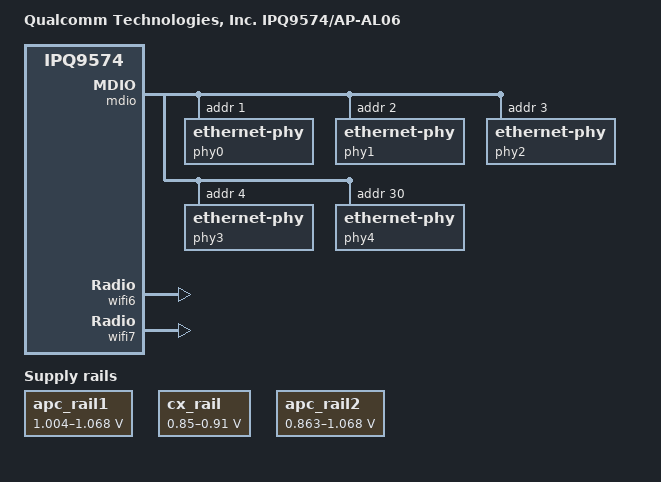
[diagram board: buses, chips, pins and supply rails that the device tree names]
// SPDX-License-Identifier: (GPL-2.0+ OR BSD-3-Clause)
/*
 * IPQ9574 AL06 board device tree source
 *
 * Copyright (c) 2020-2021 The Linux Foundation. All rights reserved.
 * Copyright (c) 2021-2023 Qualcomm Innovation Center, Inc. All rights reserved.
 */

/dts-v1/;

#include "ipq9574-al02-c6.dts"

/ {
	#address-cells = <0x2>;
	#size-cells = <0x2>;
	model = "Qualcomm Technologies, Inc. IPQ9574/AP-AL06";
	compatible = "qcom,ipq9574-ap-al06", "qcom,ipq9574-al06", "qcom,ipq9574";
	interrupt-parent = <&intc>;

	soc {
		pinctrl@1000000 {
			sfp_pins: sfp_pinmux {
				sfp_rx {
					pins = "gpio46";
					function = "rx1";
					bias-disable;
				};
			};
		};

		pcie2_x2: pci@20000000 {
			pcie2_rp {
				wifi@2 {
					boot-args = <0x2 0x4 0xFF 0x3 0x0 0x0  /* MX Rail, Invalid GPIO, Drive strength 0x3 */
						     0x5 0x4 0x34 0x3 0x0 0x16 /* CX Rail, GPIO52, Drive strength 0x3, CPR1_fuse 0x0, CPR0_fuse 0x16 */
						     0x0 0x4 0x0 0x0 0x0 0x0>; /* End of arguments */
				};
			};
		};

		pcie3_x2: pci@18000000 {
			pcie3_rp {
				wifi@3 {
					boot-args = <0x2 0x4 0xFF 0x3 0x0 0x0  /* MX Rail, Invalid GPIO, Drive strength 0x3 */
						     0x5 0x4 0x34 0x3 0x0 0x16 /* CX Rail, GPIO52, Drive strength 0x3, CPR1_fuse 0x0, CPR0_fuse 0x16 */
						     0x0 0x4 0x0 0x0 0x0 0x0>; /* End of arguments */
				};
			};
		};

		dp1 {
			reg = <0x3a500000 0x4000>;
			qcom,mactype = <1>;
			qcom,phy-mdio-addr = <1>;
		};

		dp2 {
			reg = <0x3a504000 0x4000>;
			qcom,mactype = <1>;
			qcom,phy-mdio-addr = <2>;
		};

		dp3 {
			reg = <0x3a508000 0x4000>;
			qcom,mactype = <1>;
			qcom,phy-mdio-addr = <3>;
		};

		dp4 {
			reg = <0x3a50c000 0x4000>;
			qcom,mactype = <1>;
			qcom,phy-mdio-addr = <4>;
		};

		dp5 {
			/delete-property/qcom,link-poll;
			/delete-property/qcom,phy-mdio-addr;
		};

		mdio:mdio@90000 {
			/*gpio60 for manhattan reset*/
			phy-reset-gpio = <&tlmm 60 0>;
			phyaddr_fixup = <0xC90F018>;
			uniphyaddr_fixup = <0xC90F014>;
			mdio_clk_fixup; /* MDIO clock sequence fix up flag */

			phy0: ethernet-phy@0 {
				reg = <1>;
				fixup;
			};
			phy1: ethernet-phy@1 {
				reg = <2>;
				fixup;
			};
			phy2: ethernet-phy@2 {
				reg = <3>;
				fixup;
			};
			phy3: ethernet-phy@3 {
				reg = <4>;
				fixup;
			};
			phy4: ethernet-phy@4 {
				reg = <30>;
				/delete-property/ compatible;
			};
		};

		ess-instance {
			num_devices = <0x1>;
			ess-switch@3a000000 {
				pinctrl-0 = <&sfp_pins>;
				pinctrl-names = "default";
				switch_mac_mode = <0x15>; /* mac mode for uniphy instance0*/
				switch_mac_mode1 = <0xe>; /* mac mode for uniphy instance1*/
				qcom,port_phyinfo {
					port@0 {
						phy_address = <1>;
					};
					port@1 {
						phy_address = <2>;
					};
					port@2 {
						phy_address = <3>;
					};
					port@3 {
						phy_address = <4>;
					};
					port@4 {
						port_id = <5>;
						phy_address = <30>;
						media-type = "sfp"; /* fiber mode */
						sfp_rx_los_pin = <&tlmm 0xffff GPIO_ACTIVE_HIGH>;
					};
				};

				led_source@0 {
					source = <0>;
					mode = "normal";
					speed = "all";
					blink_en = "enable";
					active = "high";
				};
				led_source@3 {
					source = <3>;
					mode = "normal";
					speed = "all";
					blink_en = "enable";
					active = "high";
				};
				led_source@6 {
					source = <6>;
					mode = "normal";
					speed = "all";
					blink_en = "enable";
					active = "high";
				};
				led_source@9 {
					source = <9>;
					mode = "normal";
					speed = "all";
					blink_en = "enable";
					active = "high";
				};
			};
		};

		edma@3ab00000 {
			qcom,edma_loopback_ring;
			qcom,num_loopback_rings = <1>;
			qcom,txdesc_loopback_ring_id = <0>;
			qcom,txcmpl_loopback_ring_id = <0>;
			qcom,rxfill_loopback_ring_id = <0>;
			qcom,rxdesc_loopback_ring_id = <0>;
			qcom,loopback_queue_base = <56>;
			qcom,loopback_num_queues = <8>;
                };

		nss-macsec0 {
			compatible = "qcom,nss-macsec";
			phy_addr = <0x1>;
			mdiobus = <&mdio>;
		};
		nss-macsec1 {
			compatible = "qcom,nss-macsec";
			phy_addr = <0x2>;
			mdiobus = <&mdio>;
		};
		nss-macsec2 {
			compatible = "qcom,nss-macsec";
			phy_addr = <0x3>;
			mdiobus = <&mdio>;
		};
		nss-macsec3 {
			compatible = "qcom,nss-macsec";
			phy_addr = <0x4>;
			mdiobus = <&mdio>;
		};

		nss0: nss@40000000 {
			npu-supply = <&dummy_reg>;
			mx-supply = <&dummy_reg>;
		};

		rpm-glink {
			status = "disabled";
		};

		apc_rail1: apc-gpio-regulator {
			compatible = "regulator-gpio";
			regulator-name = "vdd-apc";
			regulator-type = "voltage";
			regulator-boot-on;
			regulator-always-on;
			regulator-min-microvolt = <1004000>;
			regulator-max-microvolt = <1068000>;
			regulator-ramp-delay = <250>; /* 20ms */
			gpios = <&tlmm 45 GPIO_ACTIVE_HIGH>;
			gpios-states = <0x1>;
			states = <1004000 0>, <1068000 1>;
		};

		cx_rail: cx-gpio-regulator {
			compatible = "regulator-gpio";
			regulator-name = "vdd-cx";
			regulator-type = "voltage";
			regulator-boot-on;
			regulator-always-on;
			regulator-min-microvolt = <850000>;
			regulator-max-microvolt = <910000>;
			regulator-ramp-delay = <250>; /* 20ms */
			gpios = <&tlmm 47 GPIO_ACTIVE_HIGH>;
			gpios-states = <0x1>;
			states = <850000 0>, <910000 1>;
		};

		apc_rail2: apc2-gpio-regulator {
			compatible = "regulator-gpio";
			regulator-name = "vdd-apc2";
			regulator-type = "voltage";
			regulator-boot-on;
			regulator-always-on;
			regulator-min-microvolt = <863000>;
			regulator-max-microvolt = <1068000>;
			regulator-ramp-delay = <250>; /* 20ms */
			gpios = <&tlmm 57 GPIO_ACTIVE_HIGH>;
			gpios-states = <0x1>;
			states = <863000 0>, <1068000 1>;
		};

		qcom,gpio-regulator {
			compatible = "qcom,ipq9574-4state-gpio-regulator";
			reg = <0xa4000 0x1000>;
			reg-names = "fuse_base";
			apc-supply = <&apc_rail1>;
			cx-supply = <&cx_rail>;
		};
	};
};

&CPU0 {
        cpu0-supply = <&apc_rail2>;
};

&CPU1 {
        cpu-supply = <&apc_rail2>;
};

&CPU2 {
        cpu-supply = <&apc_rail2>;
};

&CPU3 {
        cpu-supply = <&apc_rail2>;
};

&cpus {
	cpu_opp_table: cpu_opp_table {
		/delete-node/ opp-0;
		opp-936000000 {
		      opp-microvolt = <863000>;
		};
		opp-1104000000 {
		       opp-microvolt = <863000>;
		};
		opp-1200000000 {
		       opp-microvolt = <863000>;
		};
		opp-1416000000 {
		       opp-microvolt = <863000>;
		};
		opp-1488000000 {
		       opp-microvolt = <1068000>;
		};
		opp-1608000000 {
		       opp-microvolt = <1068000>;
		};
		opp-1800000000 {
		       opp-microvolt = <1068000>;
	       };
	       opp-2208000000 {
		       opp-microvolt = <1068000>;
	       };
	};
};

&apc_apm {
	status = "disabled";
};

&apc_cpr {
	status = "disabled";
};

&npu_cpr {
	status = "disabled";
};

&wifi6 {
	board_id = <0x1e>;
};

&wifi7 {
	board_id = <0x15>;
};

&pcie2_x2 {
	pcie2_rp {
		wifi@2 {
			qcom,board_id = <0x1e>;
		};
	};
};

&pcie3_x2 {
	pcie3_rp {
		wifi@3 {
			qcom,board_id = <0x15>;
		};
	};
};
